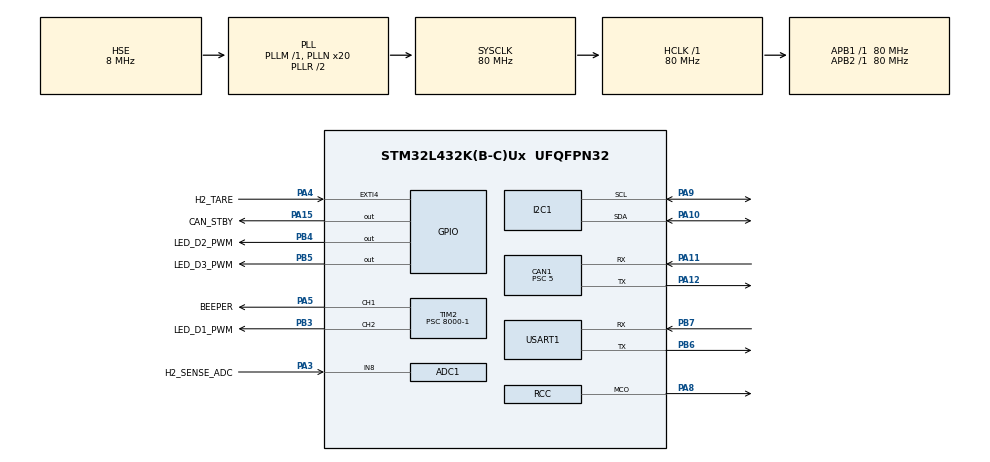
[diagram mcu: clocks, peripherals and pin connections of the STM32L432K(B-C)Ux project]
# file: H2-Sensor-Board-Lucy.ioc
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ADC1.Channel-0\#ChannelRegularConversion=ADC_CHANNEL_8
ADC1.ContinuousConvMode=ENABLE
ADC1.DMAContinuousRequests=ENABLE
ADC1.DataAlign=ADC_DATAALIGN_RIGHT
ADC1.NbrOfConversionFlag=1
ADC1.OffsetNumber-0\#ChannelRegularConversion=ADC_OFFSET_NONE
ADC1.Overrun=ADC_OVR_DATA_PRESERVED
ADC1.Rank-0\#ChannelRegularConversion=1
ADC1.Resolution=ADC_RESOLUTION_12B
ADC1.SamplingTime-0\#ChannelRegularConversion=ADC_SAMPLETIME_2CYCLES_5
ADC1.master=1
CAN1.BS1=CAN_BS1_11TQ
CAN1.BS2=CAN_BS2_4TQ
CAN1.CalculateBaudRate=1000000
CAN1.CalculateTimeBit=1000
CAN1.CalculateTimeQuantum=62.5
CAN1.Mode=CAN_MODE_NORMAL
CAN1.Prescaler=5
Dma.ADC1.0.Direction=DMA_PERIPH_TO_MEMORY
Dma.ADC1.0.Instance=DMA1_Channel1
Dma.ADC1.0.MemDataAlignment=DMA_MDATAALIGN_HALFWORD
Dma.ADC1.0.MemInc=DMA_MINC_ENABLE
Dma.ADC1.0.Mode=DMA_CIRCULAR
Dma.ADC1.0.PeriphDataAlignment=DMA_PDATAALIGN_HALFWORD
Dma.ADC1.0.PeriphInc=DMA_PINC_DISABLE
Dma.ADC1.0.Priority=DMA_PRIORITY_LOW
Dma.Request0=ADC1
FREERTOS.BinarySemaphores01=calibrateSensor,Static,calibrateSensorControlBlock
FREERTOS.Mutexes01=I2CBusControl,Dynamic,NULL
FREERTOS.Queues01=CAN_HighPro_Q,16,IntrimPacket,0,Static,CAN_HighPro_QBuffer,CAN_HighPro_QControlBlock
FREERTOS.Tasks01=defaultTask,24,256,StartDefaultTask,Default,NULL,Dynamic,NULL,NULL;SensorReadT,24,256,startSensorReadThread,Default,NULL,Static,SensorReadTBuffer,SensorReadTControlBlock;AuxilaryPrintT,24,256,startAuxilaryPrintThread,Default,NULL,Static,AuxilaryPrintTBuffer,AuxilaryPrintTControlBlock;SensorTransmitT,24,256,startSensorTransmitThread,Default,NULL,Static,SensorTransmitTBuffer,SensorTransmitTControlBlock;LeakWatchdogT,32,256,startLeakWatchdogThread,Default,NULL,Static,LeakWatchdogTBuffer,LeakWatchdogTControlBlock;SensorCalibrate,24,256,startSensorCalibrateThread,Default,NULL,Static,SensorCalibrateBuffer,SensorCalibrateControlBlock
FREERTOS.configCHECK_FOR_STACK_OVERFLOW=2
FREERTOS.configENABLE_FPU=1
FREERTOS.configUSE_NEWLIB_REENTRANT=0
I2C1.Timing=0x10909CEC
Mcu.Family=STM32L4
Mcu.Name=STM32L432K(B-C)Ux
Mcu.Package=UFQFPN32
NVIC.CAN1_RX0_IRQn=true\:5\:0\:false\:false\:true\:true\:true\:true\:true
NVIC.DMA1_Channel1_IRQn=true\:5\:0\:false\:false\:true\:true\:false\:true\:true
NVIC.EXTI4_IRQn=true\:5\:0\:false\:false\:true\:true\:true\:true\:true
NVIC.PriorityGroup=NVIC_PRIORITYGROUP_4
NVIC.TIM1_UP_TIM16_IRQn=true\:15\:0\:false\:false\:true\:false\:false\:true\:true
NVIC.TimeBase=TIM1_UP_TIM16_IRQn
NVIC.TimeBaseIP=TIM1
PA0.Mode=HSE-External-Clock-Source-for-LittleOrca
PA0.Signal=RCC_CK_IN
PA10.Mode=I2C
PA10.Signal=I2C1_SDA
PA11.Mode=CAN_Activate
PA11.Signal=CAN1_RX
PA12.Mode=CAN_Activate
PA12.Signal=CAN1_TX
PA13\ (JTMS-SWDIO).Mode=Serial_Wire
PA13\ (JTMS-SWDIO).Signal=SYS_JTMS-SWDIO
PA14\ (JTCK-SWCLK).Mode=Serial_Wire
PA14\ (JTCK-SWCLK).Signal=SYS_JTCK-SWCLK
PA15\ (JTDI).GPIO_Label=CAN_STBY
PA15\ (JTDI).Signal=GPIO_Output
PA3.GPIO_Label=H2_SENSE_ADC
PA3.Signal=SharedAnalog_PA3
PA4.GPIO_Label=H2_TARE
PA4.GPIO_ModeDefaultEXTI=GPIO_MODE_IT_RISING_FALLING
PA4.GPIO_PuPd=GPIO_PULLUP
PA4.Signal=GPXTI4
PA5.GPIO_Label=BEEPER
PA5.GPIO_PuPd=GPIO_PULLUP
PA5.GPIO_Speed=GPIO_SPEED_FREQ_HIGH
PA5.Signal=S_TIM2_CH1
PA8.Mode=Clock-out
PA8.Signal=RCC_MCO
PA9.Mode=I2C
PA9.Signal=I2C1_SCL
PB3\ (JTDO-TRACESWO).GPIO_Label=LED_D1_PWM
PB3\ (JTDO-TRACESWO).Signal=S_TIM2_CH2
PB4\ (NJTRST).GPIO_Label=LED_D2_PWM
PB4\ (NJTRST).Signal=GPIO_Output
PB5.GPIO_Label=LED_D3_PWM
PB5.Signal=GPIO_Output
PB6.Mode=Asynchronous
PB6.Signal=USART1_TX
PB7.Mode=Asynchronous
PB7.Signal=USART1_RX
ProjectManager.HeapSize=0x200
ProjectManager.StackSize=0x400
ProjectManager.TargetToolchain=STM32CubeIDE
RCC.ADCFreq_Value=32000000
RCC.AHBFreq_Value=80000000
RCC.APB1Freq_Value=80000000
RCC.APB1TimFreq_Value=80000000
RCC.APB2Freq_Value=80000000
RCC.APB2TimFreq_Value=80000000
RCC.CortexFreq_Value=80000000
RCC.EnbaleCSS=true
RCC.HCLKFreq_Value=80000000
RCC.HSE_VALUE=8000000
RCC.HSI48_VALUE=48000000
RCC.HSI_VALUE=16000000
RCC.LSE_VALUE=32768
RCC.MSI_VALUE=4000000
RCC.PLLN=20
RCC.PLLSourceVirtual=RCC_PLLSOURCE_HSE
RCC.PREFETCH_ENABLE=0
RCC.RCC_MCO1Source=RCC_MCO1SOURCE_PLLCLK
RCC.RCC_MCODiv=RCC_MCODIV_16
RCC.SYSCLKFreq_VALUE=80000000
RCC.SYSCLKSource=RCC_SYSCLKSOURCE_PLLCLK
RCC.USBFreq_Value=32000000
RCC.VCOOutputFreq_Value=160000000
SH.S_TIM2_CH1.0=TIM2_CH1,PWM Generation1 CH1
SH.S_TIM2_CH2.0=TIM2_CH2,PWM Generation2 CH2
SH.SharedAnalog_PA3.0=GPIO_Analog
SH.SharedAnalog_PA3.1=ADC1_IN8,IN8-Single-Ended
TIM2.AutoReloadPreload=TIM_AUTORELOAD_PRELOAD_ENABLE
TIM2.Channel-PWM\ Generation1\ CH1=TIM_CHANNEL_1
TIM2.Channel-PWM\ Generation2\ CH2=TIM_CHANNEL_2
TIM2.Period=100-1
TIM2.Prescaler=8000-1
USART1.VirtualMode-Asynchronous=VM_ASYNC
VP_FREERTOS_VS_CMSIS_V2.Mode=CMSIS_V2
VP_SYS_VS_tim1.Mode=TIM1
board=custom

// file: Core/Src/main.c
/* USER CODE BEGIN Header */
/**
 ******************************************************************************
 * @file           : main.c
 * @brief          : Main program body
 ******************************************************************************
 * @attention
 *
 * Copyright (c) 2023 STMicroelectronics.
 * All rights reserved.
 *
 * This software is licensed under terms that can be found in the LICENSE file
 * in the root directory of this software component.
 * If no LICENSE file comes with this software, it is provided AS-IS.
 *
 ******************************************************************************
 */
/* USER CODE END Header */
#include "main.h"
#include "cmsis_os.h"
#include "adc.h"
#include "can.h"
#include "dma.h"
#include "i2c.h"
#include "tim.h"
#include "usart.h"
#include "gpio.h"

/* USER CODE BEGIN Includes */
#include "ssd1306.h"
#include "stdio.h"
#include "bme280/bme280.h"
#include <stdlib.h>
#include <string.h>
#include "packets.h"
#include "MQ8/mq8calibration.h"
/* USER CODE END Includes */

/* USER CODE BEGIN PD */

//#define H2_LEAK_DATA 0x01
/* USER CODE END PD */

void SystemClock_Config(void);
void MX_FREERTOS_Init(void);
/* USER CODE BEGIN PFP */
int CAN_Transmit(uint32_t _device_address, uint8_t *_buffer_pointer,
		int _buffer_length, uint32_t _RTR);

void HAL_CAN_RxFifo0MsgPendingCallback(CAN_HandleTypeDef *hcan);
void HAL_CAN_RxFif10MsgPendingCallback(CAN_HandleTypeDef *hcan);
void HAL_CAN_TxMailbox0CompleteCallback(CAN_HandleTypeDef *hcan);
void HAL_CAN_TxMailbox1CompleteCallback(CAN_HandleTypeDef *hcan);
void HAL_CAN_TxMailbox2CompleteCallback(CAN_HandleTypeDef *hcan);

//void DMATransferComplete(DMA_HandleTypeDef *hdma) {
//	printf("%hu\r\n", adc_buf);
//}
/* USER CODE END PFP */

/* USER CODE BEGIN 0 */
int _write(int file, char *ptr, int len) {

	HAL_UART_Transmit(&huart1, (uint8_t*) ptr, len, HAL_MAX_DELAY);
	return len;
}

/* USER CODE END 0 */

int main(void)
{

  /* MCU Configuration--------------------------------------------------------*/

  /* Reset of all peripherals, Initializes the Flash interface and the Systick. */
  HAL_Init();

  /* Configure the system clock */
  SystemClock_Config();

  /* Initialize all configured peripherals */
  MX_GPIO_Init();
  MX_DMA_Init();
  MX_CAN1_Init();
  MX_I2C1_Init();
  MX_USART1_UART_Init();
  MX_ADC1_Init();
  MX_TIM2_Init();
  /* USER CODE BEGIN 2 */
	CAN_Initialize();
	//ssd1306_Init();
	//ssd1306_Fill(White);
	//ssd1306_UpdateScreen(); // update screen
//	HAL_DMA_RegisterCallback(&hdma_adc1, HAL_DMA_XFER_CPLT_CB_ID,
//			&DMATransferComplete);
  /* USER CODE END 2 */

  /* Init scheduler */
  osKernelInitialize();

  /* Call init function for freertos objects (in freertos.c) */
  MX_FREERTOS_Init();

  /* Start scheduler */
  osKernelStart();

  /* We should never get here as control is now taken by the scheduler */
  /* Infinite loop */
  /* USER CODE BEGIN WHILE */
	while (1) {
//		HAL_GPIO_WritePin(GPIOA, GPLED_TEST_Pin, GPIO_PIN_SET);
//		HAL_Delay(1000);
//		if (HAL_I2C_IsDeviceReady(&hi2c1, 0x78 << 1, 100, HAL_MAX_DELAY)
//				== HAL_OK) {
//			printf("I2C Ping");
//		}
		//printf("UART TEST\r\n");
//		ssd1306_Fill(White);
//			ssd1306_UpdateScreen(); // update screen
//		HAL_GPIO_WritePin(GPIOA, GPLED_TEST_Pin, GPIO_PIN_RESET);
//		HAL_ADC_Start(&hadc1);
//		HAL_ADC_PollForConversion(&hadc1, HAL_MAX_DELAY);
//		raw = HAL_ADC_GetValue(&hadc1);
		//HAL_ADC_Start_DMA(&hadc1, (uint32_t*) adc_buf, 1);
		//HAL_ADC_Start_DMA(&hadc1, (uint32_t*) adc_buf, ADC_BUF_LEN);

		HAL_Delay(100);
    /* USER CODE END WHILE */

	}
}

void SystemClock_Config(void)
{
  RCC_OscInitTypeDef RCC_OscInitStruct = {0};
  RCC_ClkInitTypeDef RCC_ClkInitStruct = {0};

  /** Configure the main internal regulator output voltage
  */
  if (HAL_PWREx_ControlVoltageScaling(PWR_REGULATOR_VOLTAGE_SCALE1) != HAL_OK)
  {
    Error_Handler();
  }

  /** Initializes the RCC Oscillators according to the specified parameters
  * in the RCC_OscInitTypeDef structure.
  */
  RCC_OscInitStruct.OscillatorType = RCC_OSCILLATORTYPE_HSE;
  RCC_OscInitStruct.HSEState = RCC_HSE_BYPASS;
  RCC_OscInitStruct.PLL.PLLState = RCC_PLL_ON;
  RCC_OscInitStruct.PLL.PLLSource = RCC_PLLSOURCE_HSE;
  RCC_OscInitStruct.PLL.PLLM = 1;
  RCC_OscInitStruct.PLL.PLLN = 20;
  RCC_OscInitStruct.PLL.PLLP = RCC_PLLP_DIV7;
  RCC_OscInitStruct.PLL.PLLQ = RCC_PLLQ_DIV2;
  RCC_OscInitStruct.PLL.PLLR = RCC_PLLR_DIV2;
  if (HAL_RCC_OscConfig(&RCC_OscInitStruct) != HAL_OK)
  {
    Error_Handler();
  }

  /** Initializes the CPU, AHB and APB buses clocks
  */
  RCC_ClkInitStruct.ClockType = RCC_CLOCKTYPE_HCLK|RCC_CLOCKTYPE_SYSCLK
                              |RCC_CLOCKTYPE_PCLK1|RCC_CLOCKTYPE_PCLK2;
  RCC_ClkInitStruct.SYSCLKSource = RCC_SYSCLKSOURCE_PLLCLK;
  RCC_ClkInitStruct.AHBCLKDivider = RCC_SYSCLK_DIV1;
  RCC_ClkInitStruct.APB1CLKDivider = RCC_HCLK_DIV1;
  RCC_ClkInitStruct.APB2CLKDivider = RCC_HCLK_DIV1;

  if (HAL_RCC_ClockConfig(&RCC_ClkInitStruct, FLASH_LATENCY_4) != HAL_OK)
  {
    Error_Handler();
  }
  HAL_RCC_MCOConfig(RCC_MCO1, RCC_MCO1SOURCE_PLLCLK, RCC_MCODIV_16);

  /** Enables the Clock Security System
  */
  HAL_RCC_EnableCSS();
}

/* USER CODE BEGIN 4 */
//void HAL_ADC_ConvHalfCpltCallback(ADC_HandleTypeDef *hadc) {
//	//raw = adc_buf[0];
//}
//// Called when buffer is completely filled
//void HAL_ADC_ConvCpltCallback(ADC_HandleTypeDef *hadc) {
//	//printf("%hu\r\n", adc_buf[0]);
//	raw = adc_buf[ADC_BUF_LEN - 1];
//}

/* USER CODE END 4 */

void HAL_TIM_PeriodElapsedCallback(TIM_HandleTypeDef *htim)
{
  if (htim->Instance == TIM1) {
    HAL_IncTick();
  }
}

void Error_Handler(void)
{
  /* USER CODE BEGIN Error_Handler_Debug */
	HAL_GPIO_WritePin(LED_D2_PWM_GPIO_Port, LED_D2_PWM_Pin, GPIO_PIN_SET);
	/* User can add his own implementation to report the HAL error return state */
	__disable_irq();
	while (1) {
	}
  /* USER CODE END Error_Handler_Debug */
}

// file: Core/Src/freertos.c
/* USER CODE BEGIN Header */
/**
 ******************************************************************************
 * File Name          : freertos.c
 * Description        : Code for freertos applications
 ******************************************************************************
 * @attention
 *
 * Copyright (c) 2024 STMicroelectronics.
 * All rights reserved.
 *
 * This software is licensed under terms that can be found in the LICENSE file
 * in the root directory of this software component.
 * If no LICENSE file comes with this software, it is provided AS-IS.
 *
 ******************************************************************************
 */
/* USER CODE END Header */

#include "FreeRTOS.h"
#include "task.h"
#include "main.h"
#include "cmsis_os.h"

/* USER CODE BEGIN Includes */
#include "packets.h"
#include "can.h"
#include "i2c.h"
#include "adc.h"
#include "dma.h"
#include "gpio.h"
#include "ssd1306.h"
#include "ssd1306.h"
#include "stdio.h"
#include "bme280/bme280.h"
#include <stdlib.h>
#include <string.h>
#include "packets.h"
#include "MQ8/mq8calibration.h"
#include "tim.h"
/* USER CODE END Includes */

typedef StaticTask_t osStaticThreadDef_t;
typedef StaticQueue_t osStaticMessageQDef_t;
typedef StaticSemaphore_t osStaticSemaphoreDef_t;

/* USER CODE BEGIN PM */
CAN_TxHeaderTypeDef TxHeader;

uint32_t TxMailbox;

CAN_RxHeaderTypeDef RxHeader;

bool h2_leak = false;

uint16_t h2_conc_ppm = 0;

uint16_t adc_buf[ADC_BUF_LEN];
uint16_t raw;

char h2_conc_str[32] = { 0 };
char bme_data_str[1024] = { 0 };

float temperature;
float humidity;
float pressure;
volatile int lockout = 0;
H2_SYSTEM_STATE system_state = H2_SYSTEM_STATE_INACTIVE;

/* USER CODE END PM */

/* Definitions for defaultTask */
osThreadId_t defaultTaskHandle;
const osThreadAttr_t defaultTask_attributes = {
  .name = "defaultTask",
  .stack_size = 256 * 4,
  .priority = (osPriority_t) osPriorityNormal,
};
/* Definitions for SensorReadT */
osThreadId_t SensorReadTHandle;
uint32_t SensorReadTBuffer[ 256 ];
osStaticThreadDef_t SensorReadTControlBlock;
const osThreadAttr_t SensorReadT_attributes = {
  .name = "SensorReadT",
  .cb_mem = &SensorReadTControlBlock,
  .cb_size = sizeof(SensorReadTControlBlock),
  .stack_mem = &SensorReadTBuffer[0],
  .stack_size = sizeof(SensorReadTBuffer),
  .priority = (osPriority_t) osPriorityNormal,
};
/* Definitions for AuxilaryPrintT */
osThreadId_t AuxilaryPrintTHandle;
uint32_t AuxilaryPrintTBuffer[ 256 ];
osStaticThreadDef_t AuxilaryPrintTControlBlock;
const osThreadAttr_t AuxilaryPrintT_attributes = {
  .name = "AuxilaryPrintT",
  .cb_mem = &AuxilaryPrintTControlBlock,
  .cb_size = sizeof(AuxilaryPrintTControlBlock),
  .stack_mem = &AuxilaryPrintTBuffer[0],
  .stack_size = sizeof(AuxilaryPrintTBuffer),
  .priority = (osPriority_t) osPriorityNormal,
};
/* Definitions for SensorTransmitT */
osThreadId_t SensorTransmitTHandle;
uint32_t SensorTransmitTBuffer[ 256 ];
osStaticThreadDef_t SensorTransmitTControlBlock;
const osThreadAttr_t SensorTransmitT_attributes = {
  .name = "SensorTransmitT",
  .cb_mem = &SensorTransmitTControlBlock,
  .cb_size = sizeof(SensorTransmitTControlBlock),
  .stack_mem = &SensorTransmitTBuffer[0],
  .stack_size = sizeof(SensorTransmitTBuffer),
  .priority = (osPriority_t) osPriorityNormal,
};
/* Definitions for LeakWatchdogT */
osThreadId_t LeakWatchdogTHandle;
uint32_t LeakWatchdogTBuffer[ 256 ];
osStaticThreadDef_t LeakWatchdogTControlBlock;
const osThreadAttr_t LeakWatchdogT_attributes = {
  .name = "LeakWatchdogT",
  .cb_mem = &LeakWatchdogTControlBlock,
  .cb_size = sizeof(LeakWatchdogTControlBlock),
  .stack_mem = &LeakWatchdogTBuffer[0],
  .stack_size = sizeof(LeakWatchdogTBuffer),
  .priority = (osPriority_t) osPriorityAboveNormal,
};
/* Definitions for SensorCalibrate */
osThreadId_t SensorCalibrateHandle;
uint32_t SensorCalibrateBuffer[ 256 ];
osStaticThreadDef_t SensorCalibrateControlBlock;
const osThreadAttr_t SensorCalibrate_attributes = {
  .name = "SensorCalibrate",
  .cb_mem = &SensorCalibrateControlBlock,
  .cb_size = sizeof(SensorCalibrateControlBlock),
  .stack_mem = &SensorCalibrateBuffer[0],
  .stack_size = sizeof(SensorCalibrateBuffer),
  .priority = (osPriority_t) osPriorityNormal,
};
/* Definitions for CAN_HighPro_Q */
osMessageQueueId_t CAN_HighPro_QHandle;
uint8_t CAN_HighPro_QBuffer[ 16 * sizeof( IntrimPacket ) ];
osStaticMessageQDef_t CAN_HighPro_QControlBlock;
const osMessageQueueAttr_t CAN_HighPro_Q_attributes = {
  .name = "CAN_HighPro_Q",
  .cb_mem = &CAN_HighPro_QControlBlock,
  .cb_size = sizeof(CAN_HighPro_QControlBlock),
  .mq_mem = &CAN_HighPro_QBuffer,
  .mq_size = sizeof(CAN_HighPro_QBuffer)
};
/* Definitions for I2CBusControl */
osMutexId_t I2CBusControlHandle;
const osMutexAttr_t I2CBusControl_attributes = {
  .name = "I2CBusControl"
};
/* Definitions for calibrateSensor */
osSemaphoreId_t calibrateSensorHandle;
osStaticSemaphoreDef_t calibrateSensorControlBlock;
const osSemaphoreAttr_t calibrateSensor_attributes = {
  .name = "calibrateSensor",
  .cb_mem = &calibrateSensorControlBlock,
  .cb_size = sizeof(calibrateSensorControlBlock),
};

/* USER CODE BEGIN FunctionPrototypes */
/**
 * Send 8 bytes at a time, with standard id size.
 */
int CAN_Transmit(uint32_t _device_address, uint8_t *_buffer_pointer,
		int _buffer_length, uint32_t _RTR) {

	TxHeader.StdId = _device_address;
	TxHeader.RTR = _RTR;
	if (HAL_CAN_AddTxMessage(&hcan1, &TxHeader, _buffer_pointer, &TxMailbox)
			!= HAL_OK) {
		printf(
				"Can transmission error on packet id: %hu and containing data: %u\r\n",
				_device_address, _buffer_pointer);
		Error_Handler();
	}

	return 1;
}

/**
 * Send 8 bytes at a time, with standard id size.
 */
int CAN_Transmit_Intrim(IntrimPacket _to_send) {

	TxHeader.StdId = _to_send.id;
	TxHeader.RTR = _to_send.rtr_type;
	TxHeader.DLC = _to_send.dlc;
	if (HAL_CAN_AddTxMessage(&hcan1, &TxHeader, _to_send.data, &TxMailbox)
			!= HAL_OK) {
		printf("Can transmission error on packet id: %hu\r\n", _to_send.id);
		printf(
				"[!CAN TRANSMIT FUNCTION]: TX MAILBOX FULL (CHECK CAN BUS CONNECTION)!\r\n");
		HAL_GPIO_WritePin(LED_D2_PWM_GPIO_Port, LED_D2_PWM_Pin, GPIO_PIN_SET);
		//Error_Handler();
	}

	return 1;
}

int8_t user_i2c_read(uint8_t id, uint8_t reg_addr, uint8_t *data, uint16_t len) {
	if (HAL_I2C_Master_Transmit(&hi2c1, (id << 1), &reg_addr, 1, 10) != HAL_OK)
		return -1;
	if (HAL_I2C_Master_Receive(&hi2c1, (id << 1) | 0x01, data, len, 10)
			!= HAL_OK)
		return -1;

	return 0;
}

void user_delay_ms(uint32_t period) {
	osDelay(period);
}

int8_t user_i2c_write(uint8_t id, uint8_t reg_addr, uint8_t *data, uint16_t len) {
	uint8_t buf[len + 1];
	buf[0] = reg_addr;
	memcpy(buf + 1, data, len);
	while (HAL_I2C_Master_Transmit(&hi2c1, (id << 1), (uint8_t*) buf, len + 1,
	HAL_MAX_DELAY) != HAL_OK)
		printf("I2C Error\r\n");
//	int8_t *buf;
//	buf = malloc(len + 1);
//	buf[0] = reg_addr;
//	memcpy(buf + 1, data, len);
//
//	if (HAL_I2C_Master_Transmit(&hi2c1, (id << 1), (uint8_t*) buf, len + 1,
//	HAL_MAX_DELAY) != HAL_OK)
//		return -1;
//
//	free(buf);
	return 0;
}

IntrimPacket packet; // Declared as a temporary variable outside ISR as this is being allocated and re allocated,
// therefore to save ISR time declaring it out side. Also volatile since only used in ISR.

void HAL_CAN_RxFifo0MsgPendingCallback(CAN_HandleTypeDef *hcan) {
	if (HAL_CAN_GetRxMessage(hcan, CAN_RX_FIFO0, &RxHeader, packet.data)
			!= HAL_OK) {
		Error_Handler();
	}
	// Just check if there is atleast 1 spot open
	// If we dont and call get message we will loose that message since it wont fit and the ISR will exit.
	if (osMessageQueueGetSpace(CAN_HighPro_QHandle) >= 1) {

		printf("[CAN RX Inturrupt] Got message\r\n");
		// Mask the packet ID out.
		packet.id = RxHeader.StdId;	// & 0x0FF;
		packet.rtr_type = RxHeader.RTR;
		//memcpy(packet.data, RxData, 8); // this is always 8 bytes therefore there
		// is pretty much no added iteration time. The compiler will optimize the loop away.

		osMessageQueuePut(CAN_HighPro_QHandle, &packet, 0, 0);
	}

}

void HAL_CAN_RxFifo1MsgPendingCallback(CAN_HandleTypeDef *hcan) {
}
void HAL_CAN_TxMailbox0CompleteCallback(CAN_HandleTypeDef *hcan) {
	printf("[!TxMailbox0CompleteCallback] Sent\r\n");
}
void HAL_CAN_TxMailbox1CompleteCallback(CAN_HandleTypeDef *hcan) {
	printf("[!TxMailbox1CompleteCallback] Sent\r\n");
}
void HAL_CAN_TxMailbox2CompleteCallback(CAN_HandleTypeDef *hcan) {
	printf("[!TxMailbox2CompleteCallback] Sent\r\n");
}
IntrimPacket empack;

void HAL_GPIO_EXTI_Callback(uint16_t GPIO_Pin) {
	if (GPIO_Pin == H2_TARE_Pin) {
		static int debaunce_tick = 0;
		if (!debaunce_tick) {
			debaunce_tick += HAL_GetTick();
		} else {
			if ((debaunce_tick - HAL_GetTick() > 50)) {
				//system_state = H2_SYSTEM_STATE_CALIBRATE;
				//osSemaphoreRelease(calibrateSensorHandle);
				system_state = H2_SYSTEM_STATE_ALARM_TRIPPED;
				//system_state = H2_SYSTEM_STATE_ALARM_TRIPPED;
				CAN_Transmit_Intrim(empack);
			}
		}
	}
}
/* USER CODE END FunctionPrototypes */

void StartDefaultTask(void *argument);
void startSensorReadThread(void *argument);
void startAuxilaryPrintThread(void *argument);
void startSensorTransmitThread(void *argument);
void startLeakWatchdogThread(void *argument);
void startSensorCalibrateThread(void *argument);

void MX_FREERTOS_Init(void); /* (MISRA C 2004 rule 8.1) */

/* Hook prototypes */
void vApplicationStackOverflowHook(xTaskHandle xTask, signed char *pcTaskName);

/* USER CODE BEGIN 4 */
void vApplicationStackOverflowHook(xTaskHandle xTask, signed char *pcTaskName) {
	/* Run time stack overflow checking is performed if
	 configCHECK_FOR_STACK_OVERFLOW is defined to 1 or 2. This hook function is
	 called if a stack overflow is detected. */
}
/* USER CODE END 4 */

void MX_FREERTOS_Init(void) {
  /* USER CODE BEGIN Init */
	empack.rtr_type = CAN_RTR_DATA;
	empack.id = RESPOND_EMERGENCY_H2_ALERT;
	empack.dlc = 1;
	empack.data[0] = 1;
  /* USER CODE END Init */
  /* Create the mutex(es) */
  /* creation of I2CBusControl */
  I2CBusControlHandle = osMutexNew(&I2CBusControl_attributes);

  /* Create the semaphores(s) */
  /* creation of calibrateSensor */
  calibrateSensorHandle = osSemaphoreNew(1, 0, &calibrateSensor_attributes);

  /* Create the queue(s) */
  /* creation of CAN_HighPro_Q */
  CAN_HighPro_QHandle = osMessageQueueNew (16, sizeof(IntrimPacket), &CAN_HighPro_Q_attributes);

  /* Create the thread(s) */
  /* creation of defaultTask */
  defaultTaskHandle = osThreadNew(StartDefaultTask, NULL, &defaultTask_attributes);

  /* creation of SensorReadT */
  SensorReadTHandle = osThreadNew(startSensorReadThread, NULL, &SensorReadT_attributes);

  /* creation of AuxilaryPrintT */
  AuxilaryPrintTHandle = osThreadNew(startAuxilaryPrintThread, NULL, &AuxilaryPrintT_attributes);

  /* creation of SensorTransmitT */
  SensorTransmitTHandle = osThreadNew(startSensorTransmitThread, NULL, &SensorTransmitT_attributes);

  /* creation of LeakWatchdogT */
  LeakWatchdogTHandle = osThreadNew(startLeakWatchdogThread, NULL, &LeakWatchdogT_attributes);

  /* creation of SensorCalibrate */
  SensorCalibrateHandle = osThreadNew(startSensorCalibrateThread, NULL, &SensorCalibrate_attributes);

}

void StartDefaultTask(void *argument)
{
  /* USER CODE BEGIN StartDefaultTask */
	for (;;) {
		//printf("[!Default task]: s\r\n");
		osDelay(100);
	}
  /* USER CODE END StartDefaultTask */
}

void startSensorReadThread(void *argument)
{
  /* USER CODE BEGIN startSensorReadThread */
	HAL_ADC_Start_DMA(&hadc1, (uint32_t*) adc_buf, ADC_BUF_LEN);
	//	printf("Calibrating H2... \r\n");
	//	Ro = MQ8_Calibration(); //Calibrating the sensor. Please make sure the sensor is in clean air
	//							//when you perform the calibration
	//	printf("Done. \r\n");

	struct bme280_dev dev;
	struct bme280_data comp_data;
	int8_t rslt;

	osMutexAcquire(I2CBusControlHandle, osWaitForever);
	dev.dev_id = BME280_I2C_ADDR_SEC;
	dev.intf = BME280_I2C_INTF;
	dev.read = user_i2c_read;
	dev.write = user_i2c_write;
	dev.delay_ms = user_delay_ms;
	rslt = bme280_init(&dev);

	dev.settings.osr_h = BME280_OVERSAMPLING_1X;
	dev.settings.osr_p = BME280_OVERSAMPLING_16X;
	dev.settings.osr_t = BME280_OVERSAMPLING_2X;
	dev.settings.filter = BME280_FILTER_COEFF_16;
	rslt = bme280_set_sensor_settings(
			BME280_OSR_PRESS_SEL | BME280_OSR_TEMP_SEL | BME280_OSR_HUM_SEL
					| BME280_FILTER_SEL, &dev);
	rslt = bme280_set_sensor_mode(BME280_NORMAL_MODE, &dev);
	osDelay(50);
	osMutexRelease(I2CBusControlHandle);
	/* Infinite loop */
	// \033[2J\033[0;0H
	for (;;) {

		//HAL_GPIO_WritePin(BEEPER_GPIO_Port, BEEPER_Pin, GPIO_PIN_SET);
		printf("[Main Thread] ");
		printf("H2 ADC: ");
		printf("%f\r\n", adc_buf[ADC_BUF_LEN - 1] * 0.8f);
		//		TxHeader.StdId = 0x102;
		printf("[!Main Thread] Calibrated H2 Sensor Reading: %d\r\n",
				(h2_conc_ppm = MQ8_GetH2Percentage(
						MQ8_Compensate(adc_buf[ADC_BUF_LEN - 1]) / Ro)));
		if (osMutexAcquire(I2CBusControlHandle, osWaitForever) == osOK) {
			rslt = bme280_get_sensor_data(BME280_ALL, &comp_data, &dev);
			osMutexRelease(I2CBusControlHandle);
			if (rslt == BME280_OK) {
				temperature = comp_data.temperature / 100.0; /* °C  */
				humidity = comp_data.humidity / 1024.0; /* %   */
				pressure = comp_data.pressure / 10000.0; /* hPa */
			}

		} else {
			printf("[!Main Thread] Failed to aquire control of I2C Bus\r\n");
		}

		printf("[!Main Thread] Humidity: %03.1f\r\n", humidity);
		printf("[!Main Thread] Temprature: %03.1f\r\n", temperature);
		printf("[!Main Thread] Pressure: %03.1f\r\n", pressure);

		//		IntrimPacket packet;
		//		//packet.data = {1, 2, 3, 4, 5, 6, 7, 8};
		//		packet.rtr_type = CAN_RTR_REMOTE;
		//		TxHeader.DLC = 0;
		//		packet.id = 0x111;
		//		CAN_Transmit_Intrim(packet);

		osDelay(500);

	}
  /* USER CODE END startSensorReadThread */
}

void startAuxilaryPrintThread(void *argument)
{
  /* USER CODE BEGIN startAuxilaryPrintThread */
	osDelay(500);
	HAL_TIM_PWM_Start(&htim2, TIM_CHANNEL_2);
	htim2.Instance->CCR2 = 0;
	if (osMutexAcquire(I2CBusControlHandle, osWaitForever) == osOK) {
		ssd1306_Init();
		osMutexRelease(I2CBusControlHandle);
	} else {
		printf("[!Secondary Thread] I2C Busy\r\n");
	}

	int temp_blink = 1, temp_blink2 = 0;
	/* Infinite loop */
	for (;;) {
		htim2.Instance->CCR2 = 1 * (temp_blink2 = !temp_blink2);

		ssd1306_Fill(Black);
		ssd1306_Line(0, 0, SSD1306_WIDTH, 0, White);
		ssd1306_SetCursor(0, 2);
		sprintf(h2_conc_str, "H2 Conc: %0.2f (mV)",
				adc_buf[ADC_BUF_LEN - 1] * 0.8f);
		ssd1306_WriteString(h2_conc_str, Font_7x10, White);

		ssd1306_SetCursor(0, 12);
		sprintf(bme_data_str, "Temperature: %2.0fC", temperature);
		ssd1306_WriteString(bme_data_str, Font_7x10, White);

		ssd1306_SetCursor(0, 22);
		sprintf(bme_data_str, "Humidity: %2.0f%%", humidity);
		ssd1306_WriteString(bme_data_str, Font_7x10, White);

		ssd1306_SetCursor(0, 32);
		sprintf(bme_data_str, "Pressure: %3.0f hPa", pressure);
		ssd1306_WriteString(bme_data_str, Font_7x10, White);

		ssd1306_SetCursor(0, 42);
		sprintf(bme_data_str,
				(system_state != H2_SYSTEM_STATE_CALIBRATE) ?
						"H2 Conc: %d ppm" : "Calibrating ppm", h2_conc_ppm);
		ssd1306_WriteString(bme_data_str, Font_7x10, White);
		ssd1306_Line(0, 62, SSD1306_WIDTH, 62, White);

		ssd1306_SetCursor(0, 52);

		switch (system_state) {
		case H2_SYSTEM_STATE_INACTIVE:
			sprintf(bme_data_str, "%s", "-ALARM INACTIVE-");
			break;
		case H2_SYSTEM_STATE_ALARM_ACTIVE:
			sprintf(bme_data_str, "%s", "-ALARM ACTIVE-");
			break;
		case H2_SYSTEM_STATE_ALARM_TEST:
			sprintf(bme_data_str, "%s", "-ALARM TEST-");
			break;
		case H2_SYSTEM_STATE_ALARM_TEST_SILENT:
			sprintf(bme_data_str, "%s", "-ALARM TEST SILENT-");
			break;
		case H2_SYSTEM_STATE_CALIBRATE:
			sprintf(bme_data_str, "%s", "-CALIBRATE-");
			break;
		case H2_SYSTEM_STATE_ALARM_TRIPPED:
			sprintf(bme_data_str, "%s", "-!ALARM TRIPPED!-");
			temp_blink = !temp_blink;
			break;
		}

		ssd1306_WriteString(bme_data_str, Font_7x10,
				temp_blink ? White : Black);

		ssd1306_Line(0, 62, SSD1306_WIDTH, 62, White);

		osMutexAcquire(I2CBusControlHandle, osWaitForever);
		ssd1306_UpdateScreen();
		osMutexRelease(I2CBusControlHandle);
		osDelay(100);
	}
  /* USER CODE END startAuxilaryPrintThread */
}

void startSensorTransmitThread(void *argument)
{
  /* USER CODE BEGIN startSensorTransmitThread */
	EmergencyBroadCastPacket empack;
	IntrimPacket response_packet;
	RESPONSE_PACKET_ID response_id;
	float temp_h2;
	/* Infinite loop */
	for (;;) {

		//if (osMessageQueueGetCount(CAN_HighPro_QHandle) > 0) {
		if (osMessageQueueGet(CAN_HighPro_QHandle, &response_packet, 0,
		osWaitForever) == osOK) {
			response_packet.dlc = 8;
			if (response_packet.rtr_type == CAN_RTR_REMOTE) {
				switch (response_packet.id) {
				case GET_H2_CONC_MV:
					response_packet.id = RESPOND_H2_CONC;
					temp_h2 = adc_buf[ADC_BUF_LEN - 1] * 0.80f;
					//					sprintf(&response_packet.data, "%f",
					//							adc_buf[ADC_BUF_LEN - 1] * ADC_CONST);
					//					response_packet.data[0] = 1;
					//					response_packet.data[1] = 2;
					//					response_packet.data[2] = 3;
					//					response_packet.data[3] = 4;
					//					response_packet.data = &a;
					//					sprintf(&response_packet.data, "%d",
					//												a);
					//					TxHeader.DLC = 4;
					//					TxHeader.StdId = RESPOND_H2_CONC;
					//					TxHeader.RTR = CAN_RTR_DATA;
					//					if (HAL_CAN_AddTxMessage(&hcan1, &TxHeader, &a, &TxMailbox)
					//							!= HAL_OK) {
					////						printf("Can transmission error on packet id: %hu\r\n",
					////								_to_send.id);
					//						Error_Handler();
					//					}
					response_packet.dlc = 4;
					memcpy(&response_packet.data, (uint8_t*) &temp_h2, 8);
					printf("[!SensorTransmitThread]Sending CAN H2 Conc\r\n");
					break;
				case GET_HUMIDITY:
					response_packet.id = RESPOND_HUMIDITY;
					sprintf(&response_packet.data, "%f", humidity);
					//memcpy(, humidity, 8);
					printf("[!SensorTransmitThread]Sending CAN Humidity\r\n");
					break;
				case GET_PRESSURE:
					response_packet.id = RESPOND_PRESSURE;
					sprintf(&response_packet.data, "%f", pressure);
					//memcpy(&response_packet.data, pressure, 8);
					printf("[!SensorTransmitThread]Sending CAN Pressure\r\n");
					break;
				case GET_TEMP:
					response_packet.id = RESPOND_TEMP;
					sprintf(&response_packet.data, "%f", temperature);
					//memcpy(&response_packet.data, temperature, 8);
					printf("[!SensorTransmitThread]Sending CAN Temprature\r\n");
					break;
				}
				response_packet.rtr_type = CAN_RTR_DATA;
				CAN_Transmit_Intrim(response_packet);
			}
			//			} else {
			//				printf(
			//						"[!Sensor Transmit Thread] Error getting Message from HIGH priority thread.\r\n");
			//			}
		}

		osDelay(500);
	}
  /* USER CODE END startSensorTransmitThread */
}

void startLeakWatchdogThread(void *argument)
{
  /* USER CODE BEGIN startLeakWatchdogThread */
	IntrimPacket empack;
	empack.rtr_type = CAN_RTR_DATA;
	empack.id = RESPOND_EMERGENCY_H2_ALERT;
	empack.dlc = 1;
	float h2_conc_mv = 0;

	// Beeper Prescaler = 80MHz/ 100^2 = 8000 (8000 - 1 cuz MX )
	// Max Freq = 80MHz/(100*8000) = 1000
	//lockout = 1;
	empack.data[0] = 1;
	system_state = H2_SYSTEM_STATE_INACTIVE;
	osDelay(500);
	system_state = H2_SYSTEM_STATE_ALARM_ACTIVE;
//	system_state = H2_SYSTEM_STATE_ALARM_TRIPPED;
//	HAL_TIM_PWM_Start(&htim2, TIM_CHANNEL_2);
//	htim2.Instance->CCR2 = 0; // Duty Cycle we want this to be 0% so that when needed we can turn the beeeper on.
	/* Infinite loop */
	for (;;) {
		if ((system_state == H2_SYSTEM_STATE_ALARM_TRIPPED)
				|| ((adc_buf[ADC_BUF_LEN - 1] * 0.8f) >= 3000.00f)) {
			system_state = H2_SYSTEM_STATE_ALARM_TRIPPED;
			static int temp = 0;
			h2_conc_mv = adc_buf[ADC_BUF_LEN - 1] * 0.8f;
			//memcpy(&empack.data, &h2_conc_mv, sizeof(float));
//			htim2.Instance->CCR2 = 100 * (temp = !temp);

			printf("[!LeakWatchDogThread] Leak detected.\r\n");
			osDelay(50);
			HAL_GPIO_TogglePin(LED_D3_PWM_GPIO_Port, LED_D3_PWM_Pin);
			CAN_Transmit_Intrim(empack);
			osDelay(50);
		}
		//		if (osSemaphoreAcquire(SensorAlertH2Handle, osWaitForever) == osOK) {
		//			while (1) {
		//				htim2.Instance->CCR1 = 0;
		//				sprintf(empack.data, "%f", adc_buf[ADC_BUF_LEN - 1] * ADC_CONST);
		//				// If we have a JERMA Alert we transmit a emergency broadcast every half second.
		//				CAN_Transmit_Intrim(empack);
		//				osDelay(100);
		//				htim2.Instance->CCR1 = 50;
		//				osDelay(100);
		//
		//			}
		//		}
		// Else transmit if message queue has request for data.
		osDelay(50);
	}
  /* USER CODE END startLeakWatchdogThread */
}

void startSensorCalibrateThread(void *argument)
{
  /* USER CODE BEGIN startSensorCalibrateThread */
	IntrimPacket empack;
	empack.rtr_type = CAN_RTR_DATA;
	empack.id = RESPOND_EMERGENCY_H2_ALERT;
	empack.dlc = 4;
	empack.id = RESPOND_EMERGENCY_H2_ALERT;
	/* Infinite loop */
	for (;;) {
		osSemaphoreAcquire(calibrateSensorHandle, osWaitForever);
		printf("[!Calibrate Sensor Thread] Starting Calibration.\r\n");
		//		Ro = MQ8_Calibration();

		int i;
		for (i = 0; i < CALIBARAION_SAMPLE_TIMES; i++) { //take multiple samples
//			Ro += MQ8_ResistanceCalculation(adc_buf[ADC_BUF_LEN - 1] * 0.8f);

			Ro += MQ8_ResistanceCalculation(adc_buf[ADC_BUF_LEN - 1]);
			osDelay(CALIBRATION_SAMPLE_INTERVAL);
		}
		Ro = Ro / CALIBARAION_SAMPLE_TIMES;      //calculate the average value

		Ro = Ro / RO_CLEAN_AIR_FACTOR; //divided by RO_CLEAN_AIR_FACTOR yields the Ro
									   //according to the chart in the datasheet
		osDelay(500);
		system_state = H2_SYSTEM_STATE_INACTIVE;

//		if (h2_conc_ppm > 1) {
//			response_packet.rtr_type = CAN_RTR_DATA;
//			CAN_Transmit_Intrim(empack);
//		}

	}
  /* USER CODE END startSensorCalibrateThread */
}
